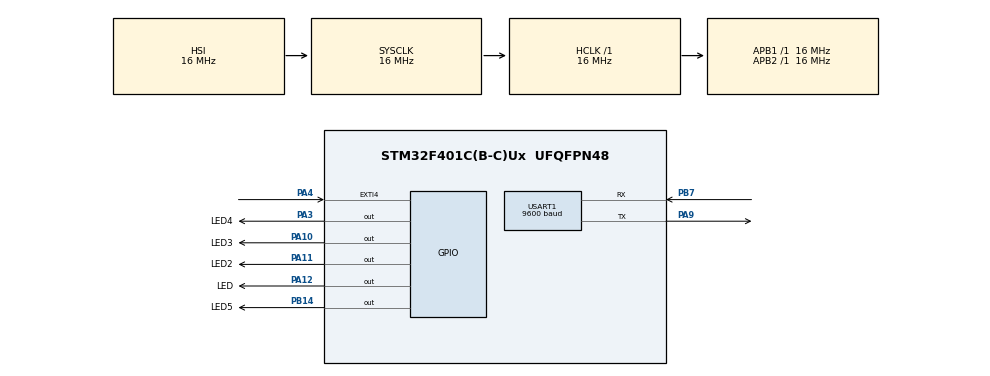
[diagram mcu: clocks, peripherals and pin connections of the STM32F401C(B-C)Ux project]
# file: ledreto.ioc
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Dma.Request0=USART1_RX
Dma.USART1_RX.0.Direction=DMA_PERIPH_TO_MEMORY
Dma.USART1_RX.0.FIFOMode=DMA_FIFOMODE_DISABLE
Dma.USART1_RX.0.Instance=DMA2_Stream2
Dma.USART1_RX.0.MemDataAlignment=DMA_MDATAALIGN_BYTE
Dma.USART1_RX.0.MemInc=DMA_MINC_ENABLE
Dma.USART1_RX.0.Mode=DMA_NORMAL
Dma.USART1_RX.0.PeriphDataAlignment=DMA_PDATAALIGN_BYTE
Dma.USART1_RX.0.PeriphInc=DMA_PINC_DISABLE
Dma.USART1_RX.0.Priority=DMA_PRIORITY_LOW
Mcu.Family=STM32F4
Mcu.Name=STM32F401C(B-C)Ux
Mcu.Package=UFQFPN48
NVIC.DMA2_Stream2_IRQn=true\:0\:0\:false\:false\:true\:false\:true\:true
NVIC.EXTI4_IRQn=true\:0\:0\:false\:false\:true\:true\:true\:true
NVIC.PriorityGroup=NVIC_PRIORITYGROUP_2
NVIC.TIM2_IRQn=true\:1\:0\:true\:false\:true\:true\:true\:true
NVIC.USART1_IRQn=true\:0\:0\:false\:false\:true\:true\:true\:true
PA10.GPIO_Label=LED3
PA10.Signal=GPIO_Output
PA11.GPIO_Label=LED2
PA11.Signal=GPIO_Output
PA12.GPIO_Label=LED
PA12.Signal=GPIO_Output
PA3.GPIO_Label=LED4
PA3.Signal=GPIO_Output
PA4.GPIO_ModeDefaultEXTI=GPIO_MODE_IT_FALLING
PA4.GPIO_PuPd=GPIO_PULLUP
PA4.Signal=GPXTI4
PA9.Mode=Asynchronous
PA9.Signal=USART1_TX
PB14.GPIO_Label=LED5
PB14.Signal=GPIO_Output
PB7.Mode=Asynchronous
PB7.Signal=USART1_RX
ProjectManager.HeapSize=0x200
ProjectManager.StackSize=0x400
ProjectManager.TargetToolchain=CMake
RCC.AHBFreq_Value=16000000
RCC.APB1Freq_Value=16000000
RCC.APB2Freq_Value=16000000
RCC.CortexFreq_Value=16000000
RCC.HSE_VALUE=25000000
RCC.HSI_VALUE=16000000
RCC.LSE_VALUE=32768
RCC.SYSCLKFreq_VALUE=16000000
RCC.VCOOutputFreq_Value=192000000
TIM2.AutoReloadPreload=TIM_AUTORELOAD_PRELOAD_ENABLE
TIM2.Period=99
TIM2.Prescaler=16000-1
USART1.BaudRate=9600
USART1.Mode=MODE_TX_RX
USART1.VirtualMode=VM_ASYNC
VP_TIM2_VS_ClockSourceINT.Mode=Internal
board=custom

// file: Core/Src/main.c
/* USER CODE BEGIN Header */
/**
  ******************************************************************************
  * @file           : main.c
  * @brief          : Main program body
  ******************************************************************************
  * @attention
  *
  * Copyright (c) 2026 STMicroelectronics.
  * All rights reserved.
  *
  * This software is licensed under terms that can be found in the LICENSE file
  * in the root directory of this software component.
  * If no LICENSE file comes with this software, it is provided AS-IS.
  *
  ******************************************************************************
  */
/* USER CODE END Header */
#include "main.h"

/* USER CODE BEGIN Includes */
#include "stdio.h"
#include "string.h"
#include "stdlib.h"
#include "stdbool.h"
#include "math.h"
#include "stdint.h"
#include "uart.h"
#include "UARTRX.h"

/* USER CODE END Includes */

TIM_HandleTypeDef htim2;

UART_HandleTypeDef huart1;
DMA_HandleTypeDef hdma_usart1_rx;

void SystemClock_Config(void);
static void MX_GPIO_Init(void);
static void MX_DMA_Init(void);
static void MX_TIM2_Init(void);
static void MX_USART1_UART_Init(void);

/* USER CODE BEGIN 0 */
void procesa_rx()
{
  UARTRX1.trama_rx[strcspn((char *)UARTRX1.trama_rx, "\r\n")] = '\0';

  if (strcmp((char *)UARTRX1.trama_rx, "on") == 0)
  {
    HAL_GPIO_WritePin(LED5_GPIO_Port, LED5_Pin, GPIO_PIN_SET);
  }
  else if (strcmp((char *)UARTRX1.trama_rx, "off") == 0)
  {
    HAL_GPIO_WritePin(LED5_GPIO_Port, LED5_Pin, GPIO_PIN_RESET);
  }
}
/* USER CODE END 0 */

int main(void)
{

  /* MCU Configuration--------------------------------------------------------*/

  /* Reset of all peripherals, Initializes the Flash interface and the Systick. */
  HAL_Init();

  /* Configure the system clock */
  SystemClock_Config();

  /* Initialize all configured peripherals */
  MX_GPIO_Init();
  MX_DMA_Init();
  MX_TIM2_Init();
  MX_USART1_UART_Init();
  /* USER CODE BEGIN 2 */
  uartRX_it_idle_dma_init( &UARTRX1);
  HAL_TIM_Base_Start_IT(&htim2);
  /* USER CODE END 2 */

  /* Infinite loop */
  while (1)
  {

    /* USER CODE BEGIN 3 */
    HAL_GPIO_TogglePin(LED_GPIO_Port, LED_Pin);
    HAL_Delay(100);

    if (UARTRX1.flag_rx==1)
	  {
	    procesa_rx();
		  uartRX_DMA_Re_init(&UARTRX1);
	  }
  }
  /* USER CODE END 3 */
}

void SystemClock_Config(void)
{
  RCC_OscInitTypeDef RCC_OscInitStruct = {0};
  RCC_ClkInitTypeDef RCC_ClkInitStruct = {0};

  /** Configure the main internal regulator output voltage
  */
  __HAL_RCC_PWR_CLK_ENABLE();
  __HAL_PWR_VOLTAGESCALING_CONFIG(PWR_REGULATOR_VOLTAGE_SCALE2);

  /** Initializes the RCC Oscillators according to the specified parameters
  * in the RCC_OscInitTypeDef structure.
  */
  RCC_OscInitStruct.OscillatorType = RCC_OSCILLATORTYPE_HSI;
  RCC_OscInitStruct.HSIState = RCC_HSI_ON;
  RCC_OscInitStruct.HSICalibrationValue = RCC_HSICALIBRATION_DEFAULT;
  RCC_OscInitStruct.PLL.PLLState = RCC_PLL_NONE;
  if (HAL_RCC_OscConfig(&RCC_OscInitStruct) != HAL_OK)
  {
    Error_Handler();
  }

  /** Initializes the CPU, AHB and APB buses clocks
  */
  RCC_ClkInitStruct.ClockType = RCC_CLOCKTYPE_HCLK|RCC_CLOCKTYPE_SYSCLK
                              |RCC_CLOCKTYPE_PCLK1|RCC_CLOCKTYPE_PCLK2;
  RCC_ClkInitStruct.SYSCLKSource = RCC_SYSCLKSOURCE_HSI;
  RCC_ClkInitStruct.AHBCLKDivider = RCC_SYSCLK_DIV1;
  RCC_ClkInitStruct.APB1CLKDivider = RCC_HCLK_DIV1;
  RCC_ClkInitStruct.APB2CLKDivider = RCC_HCLK_DIV1;

  if (HAL_RCC_ClockConfig(&RCC_ClkInitStruct, FLASH_LATENCY_0) != HAL_OK)
  {
    Error_Handler();
  }
}

static void MX_TIM2_Init(void)
{

  TIM_ClockConfigTypeDef sClockSourceConfig = {0};
  TIM_MasterConfigTypeDef sMasterConfig = {0};

  htim2.Instance = TIM2;
  htim2.Init.Prescaler = 16000-1;
  htim2.Init.CounterMode = TIM_COUNTERMODE_UP;
  htim2.Init.Period = 99;
  htim2.Init.ClockDivision = TIM_CLOCKDIVISION_DIV1;
  htim2.Init.AutoReloadPreload = TIM_AUTORELOAD_PRELOAD_ENABLE;
  if (HAL_TIM_Base_Init(&htim2) != HAL_OK)
  {
    Error_Handler();
  }
  sClockSourceConfig.ClockSource = TIM_CLOCKSOURCE_INTERNAL;
  if (HAL_TIM_ConfigClockSource(&htim2, &sClockSourceConfig) != HAL_OK)
  {
    Error_Handler();
  }
  sMasterConfig.MasterOutputTrigger = TIM_TRGO_RESET;
  sMasterConfig.MasterSlaveMode = TIM_MASTERSLAVEMODE_DISABLE;
  if (HAL_TIMEx_MasterConfigSynchronization(&htim2, &sMasterConfig) != HAL_OK)
  {
    Error_Handler();
  }

}

static void MX_USART1_UART_Init(void)
{

  huart1.Instance = USART1;
  huart1.Init.BaudRate = 9600;
  huart1.Init.WordLength = UART_WORDLENGTH_8B;
  huart1.Init.StopBits = UART_STOPBITS_1;
  huart1.Init.Parity = UART_PARITY_NONE;
  huart1.Init.Mode = UART_MODE_TX_RX;
  huart1.Init.HwFlowCtl = UART_HWCONTROL_NONE;
  huart1.Init.OverSampling = UART_OVERSAMPLING_16;
  if (HAL_UART_Init(&huart1) != HAL_OK)
  {
    Error_Handler();
  }

}

static void MX_DMA_Init(void)
{

  /* DMA controller clock enable */
  __HAL_RCC_DMA2_CLK_ENABLE();

  /* DMA interrupt init */
  /* DMA2_Stream2_IRQn interrupt configuration */
  HAL_NVIC_SetPriority(DMA2_Stream2_IRQn, 0, 0);
  HAL_NVIC_EnableIRQ(DMA2_Stream2_IRQn);

}

static void MX_GPIO_Init(void)
{
  GPIO_InitTypeDef GPIO_InitStruct = {0};

  /* GPIO Ports Clock Enable */
  __HAL_RCC_GPIOA_CLK_ENABLE();
  __HAL_RCC_GPIOB_CLK_ENABLE();

  /*Configure GPIO pin Output Level */
  HAL_GPIO_WritePin(GPIOA, LED4_Pin|LED3_Pin|LED2_Pin|LED_Pin, GPIO_PIN_RESET);

  /*Configure GPIO pin Output Level */
  HAL_GPIO_WritePin(LED5_GPIO_Port, LED5_Pin, GPIO_PIN_RESET);

  /*Configure GPIO pins : LED4_Pin LED3_Pin LED2_Pin LED_Pin */
  GPIO_InitStruct.Pin = LED4_Pin|LED3_Pin|LED2_Pin|LED_Pin;
  GPIO_InitStruct.Mode = GPIO_MODE_OUTPUT_PP;
  GPIO_InitStruct.Pull = GPIO_NOPULL;
  GPIO_InitStruct.Speed = GPIO_SPEED_FREQ_LOW;
  HAL_GPIO_Init(GPIOA, &GPIO_InitStruct);

  /*Configure GPIO pin : PA4 */
  GPIO_InitStruct.Pin = GPIO_PIN_4;
  GPIO_InitStruct.Mode = GPIO_MODE_IT_FALLING;
  GPIO_InitStruct.Pull = GPIO_PULLUP;
  HAL_GPIO_Init(GPIOA, &GPIO_InitStruct);

  /*Configure GPIO pin : LED5_Pin */
  GPIO_InitStruct.Pin = LED5_Pin;
  GPIO_InitStruct.Mode = GPIO_MODE_OUTPUT_PP;
  GPIO_InitStruct.Pull = GPIO_NOPULL;
  GPIO_InitStruct.Speed = GPIO_SPEED_FREQ_LOW;
  HAL_GPIO_Init(LED5_GPIO_Port, &GPIO_InitStruct);

  /* EXTI interrupt init*/
  HAL_NVIC_SetPriority(EXTI4_IRQn, 0, 0);
  HAL_NVIC_EnableIRQ(EXTI4_IRQn);

}

void Error_Handler(void)
{
  __disable_irq();
  while (1)
  {
  }
}
